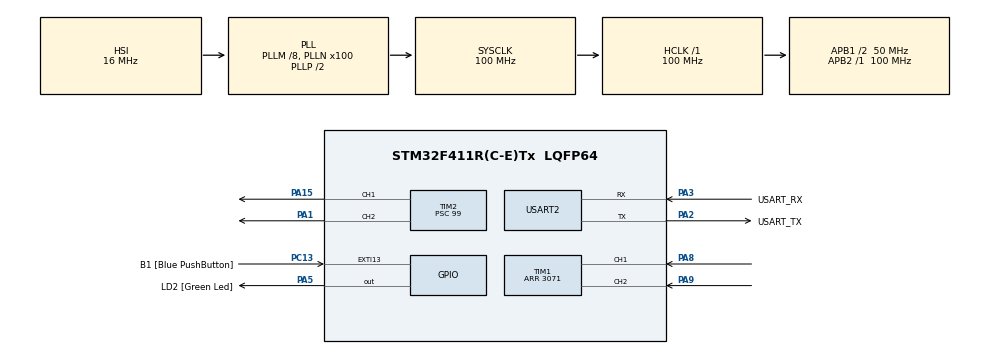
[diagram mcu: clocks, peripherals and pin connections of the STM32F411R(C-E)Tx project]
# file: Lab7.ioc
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Mcu.Family=STM32F4
Mcu.Name=STM32F411R(C-E)Tx
Mcu.Package=LQFP64
NVIC.PriorityGroup=NVIC_PRIORITYGROUP_0
NVIC.TIM2_IRQn=true\:0\:0\:false\:false\:true\:true\:true
NVIC.TIM5_IRQn=true\:0\:0\:false\:false\:true\:true\:true
PA1.Signal=S_TIM2_CH2
PA13.GPIO_Label=TMS
PA13.Mode=Serial_Wire
PA13.Signal=SYS_JTMS-SWDIO
PA14.GPIO_Label=TCK
PA14.Mode=Serial_Wire
PA14.Signal=SYS_JTCK-SWCLK
PA15.Signal=S_TIM2_CH1_ETR
PA2.GPIO_Label=USART_TX
PA2.Mode=Asynchronous
PA2.Signal=USART2_TX
PA3.GPIO_Label=USART_RX
PA3.Mode=Asynchronous
PA3.Signal=USART2_RX
PA5.GPIO_Label=LD2 [Green Led]
PA5.Signal=GPIO_Output
PA8.Signal=S_TIM1_CH1
PA9.Signal=S_TIM1_CH2
PB3.GPIO_Label=SWO
PB3.Signal=SYS_JTDO-SWO
PC13-ANTI_TAMP.GPIO_Label=B1 [Blue PushButton]
PC13-ANTI_TAMP.GPIO_ModeDefaultEXTI=GPIO_MODE_IT_FALLING
PC13-ANTI_TAMP.Signal=GPXTI13
PC14-OSC32_IN.Mode=LSE-External-Oscillator
PC14-OSC32_IN.Signal=RCC_OSC32_IN
PC15-OSC32_OUT.Mode=LSE-External-Oscillator
PC15-OSC32_OUT.Signal=RCC_OSC32_OUT
PH0\ -\ OSC_IN.Mode=HSE-External-Clock-Source
PH0\ -\ OSC_IN.Signal=RCC_OSC_IN
PH1\ -\ OSC_OUT.Mode=HSE-External-Clock-Source
PH1\ -\ OSC_OUT.Signal=RCC_OSC_OUT
ProjectManager.HeapSize=0x200
ProjectManager.StackSize=0x400
ProjectManager.TargetToolchain=STM32CubeIDE
RCC.48MHZClocksFreq_Value=50000000
RCC.AHBFreq_Value=100000000
RCC.APB1CLKDivider=RCC_HCLK_DIV2
RCC.APB1Freq_Value=50000000
RCC.APB1TimFreq_Value=100000000
RCC.APB2Freq_Value=100000000
RCC.APB2TimFreq_Value=100000000
RCC.CortexFreq_Value=100000000
RCC.FLatency-AdvancedSettings=FLASH_LATENCY_3
RCC.HCLKFreq_Value=100000000
RCC.HSE_VALUE=8000000
RCC.HSI_VALUE=16000000
RCC.PLLM=8
RCC.PLLN=100
RCC.SYSCLKFreq_VALUE=100000000
RCC.SYSCLKSource=RCC_SYSCLKSOURCE_PLLCLK
RCC.VCOOutputFreq_Value=200000000
SH.S_TIM1_CH1.0=TIM1_CH1,Encoder_Interface
SH.S_TIM1_CH2.0=TIM1_CH2,Encoder_Interface
SH.S_TIM2_CH1_ETR.0=TIM2_CH1,PWM Generation1 CH1
SH.S_TIM2_CH2.0=TIM2_CH2,PWM Generation2 CH2
TIM1.EncoderMode=TIM_ENCODERMODE_TI12
TIM1.Period=3071
TIM2.Channel-PWM\ Generation1\ CH1=TIM_CHANNEL_1
TIM2.Channel-PWM\ Generation2\ CH2=TIM_CHANNEL_2
TIM2.Period=10000
TIM2.Prescaler=99
TIM5.Prescaler=99
USART2.VirtualMode=VM_ASYNC
VP_TIM2_VS_ClockSourceINT.Mode=Internal
VP_TIM5_VS_ClockSourceINT.Mode=Internal
board=NUCLEO-F411RE

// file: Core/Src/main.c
/* USER CODE BEGIN Header */
/**
 ******************************************************************************
 * @file           : main.c
 * @brief          : Main program body
 ******************************************************************************
 * @attention
 *
 * <h2><center>&copy; Copyright (c) 2021 STMicroelectronics.
 * All rights reserved.</center></h2>
 *
 * This software component is licensed by ST under BSD 3-Clause license,
 * the "License"; You may not use this file except in compliance with the
 * License. You may obtain a copy of the License at:
 *                        opensource.org/licenses/BSD-3-Clause
 *
 ******************************************************************************
 */
/* USER CODE END Header */
#include "main.h"

TIM_HandleTypeDef htim1;
TIM_HandleTypeDef htim2;
TIM_HandleTypeDef htim5;

UART_HandleTypeDef huart2;

/* USER CODE BEGIN PV */
uint64_t _micros = 0;
float EncoderVel = 0;
uint64_t Timestamp_Encoder = 0;
float w = 0;
float RPM = 0 ;
float PWMO1 =0 ;
float PWMO2 = 0 ;
float e  = 0 ;
float constant = 0;
float Kp = 2.5;
float Ki = 0.000001;
float Kd = 0.55;
float PID = 0;
float e0 = 0;
float sum_e = 0;
float X = 0;

/* USER CODE END PV */

void SystemClock_Config(void);
static void MX_GPIO_Init(void);
static void MX_USART2_UART_Init(void);
static void MX_TIM1_Init(void);
static void MX_TIM2_Init(void);
static void MX_TIM5_Init(void);
/* USER CODE BEGIN PFP */
uint64_t micros();
float EncoderVelocity_Update();

/* USER CODE END PFP */

int main(void)
{

  /* MCU Configuration--------------------------------------------------------*/

  /* Reset of all peripherals, Initializes the Flash interface and the Systick. */
  HAL_Init();

  /* Configure the system clock */
  SystemClock_Config();

  /* Initialize all configured peripherals */
  MX_GPIO_Init();
  MX_USART2_UART_Init();
  MX_TIM1_Init();
  MX_TIM2_Init();
  MX_TIM5_Init();
  /* USER CODE BEGIN 2 */
	HAL_TIM_Base_Start_IT(&htim2);
	HAL_TIM_Encoder_Start(&htim1, TIM_CHANNEL_ALL);
	HAL_TIM_Base_Start_IT(&htim5);
	HAL_TIM_PWM_Start(&htim2, TIM_CHANNEL_1);
	HAL_TIM_PWM_Start(&htim2, TIM_CHANNEL_2);
  /* USER CODE END 2 */

  /* Infinite loop */
	while (1)
	{

    /* USER CODE BEGIN 3 */

		//RAW Read
//		if (micros() - Timestamp_Encoder >= 1000)
//		{
//			Timestamp_Encoder = micros();
//			EncoderVel = EncoderVelocity_Update();
//		}

		//Add LPF?
		if (micros() - Timestamp_Encoder >= 1000)
		{
			Timestamp_Encoder = micros();
			EncoderVel = (EncoderVel * 99 + EncoderVelocity_Update()) / 100.0   ;    //ไม่เสถียร
			w = EncoderVel / 3072; // �?ปลงให้เป็น 1 รอบ
			RPM = w * 60 ;
			e = constant - RPM;
			sum_e += e;
			PID = (Kp*e) + (Ki*sum_e*1000000/Timestamp_Encoder) + (Kd*(e - e0)/0.0001);
			e0 = e;
			X += PID;
			if(constant > 0)
			{
				PWMO1 = 0 ;
				PWMO2 = X ;
			}
			if(constant < 0)
			{
				PWMO1 = -X ;
				PWMO2 = 0 ;
			}
			if(constant == 0)
			{
				PWMO1 = 0 ;
				PWMO2 = 0 ;
			}
			__HAL_TIM_SET_COMPARE(&htim2, TIM_CHANNEL_1,PWMO1);
			__HAL_TIM_SET_COMPARE(&htim2, TIM_CHANNEL_2,PWMO2);
		}

	}
  /* USER CODE END 3 */
}

void SystemClock_Config(void)
{
  RCC_OscInitTypeDef RCC_OscInitStruct = {0};
  RCC_ClkInitTypeDef RCC_ClkInitStruct = {0};

  /** Configure the main internal regulator output voltage
  */
  __HAL_RCC_PWR_CLK_ENABLE();
  __HAL_PWR_VOLTAGESCALING_CONFIG(PWR_REGULATOR_VOLTAGE_SCALE1);
  /** Initializes the RCC Oscillators according to the specified parameters
  * in the RCC_OscInitTypeDef structure.
  */
  RCC_OscInitStruct.OscillatorType = RCC_OSCILLATORTYPE_HSI;
  RCC_OscInitStruct.HSIState = RCC_HSI_ON;
  RCC_OscInitStruct.HSICalibrationValue = RCC_HSICALIBRATION_DEFAULT;
  RCC_OscInitStruct.PLL.PLLState = RCC_PLL_ON;
  RCC_OscInitStruct.PLL.PLLSource = RCC_PLLSOURCE_HSI;
  RCC_OscInitStruct.PLL.PLLM = 8;
  RCC_OscInitStruct.PLL.PLLN = 100;
  RCC_OscInitStruct.PLL.PLLP = RCC_PLLP_DIV2;
  RCC_OscInitStruct.PLL.PLLQ = 4;
  if (HAL_RCC_OscConfig(&RCC_OscInitStruct) != HAL_OK)
  {
    Error_Handler();
  }
  /** Initializes the CPU, AHB and APB buses clocks
  */
  RCC_ClkInitStruct.ClockType = RCC_CLOCKTYPE_HCLK|RCC_CLOCKTYPE_SYSCLK
                              |RCC_CLOCKTYPE_PCLK1|RCC_CLOCKTYPE_PCLK2;
  RCC_ClkInitStruct.SYSCLKSource = RCC_SYSCLKSOURCE_PLLCLK;
  RCC_ClkInitStruct.AHBCLKDivider = RCC_SYSCLK_DIV1;
  RCC_ClkInitStruct.APB1CLKDivider = RCC_HCLK_DIV2;
  RCC_ClkInitStruct.APB2CLKDivider = RCC_HCLK_DIV1;

  if (HAL_RCC_ClockConfig(&RCC_ClkInitStruct, FLASH_LATENCY_3) != HAL_OK)
  {
    Error_Handler();
  }
}

static void MX_TIM1_Init(void)
{

  TIM_Encoder_InitTypeDef sConfig = {0};
  TIM_MasterConfigTypeDef sMasterConfig = {0};

  htim1.Instance = TIM1;
  htim1.Init.Prescaler = 0;
  htim1.Init.CounterMode = TIM_COUNTERMODE_UP;
  htim1.Init.Period = 3071;
  htim1.Init.ClockDivision = TIM_CLOCKDIVISION_DIV1;
  htim1.Init.RepetitionCounter = 0;
  htim1.Init.AutoReloadPreload = TIM_AUTORELOAD_PRELOAD_DISABLE;
  sConfig.EncoderMode = TIM_ENCODERMODE_TI12;
  sConfig.IC1Polarity = TIM_ICPOLARITY_RISING;
  sConfig.IC1Selection = TIM_ICSELECTION_DIRECTTI;
  sConfig.IC1Prescaler = TIM_ICPSC_DIV1;
  sConfig.IC1Filter = 0;
  sConfig.IC2Polarity = TIM_ICPOLARITY_RISING;
  sConfig.IC2Selection = TIM_ICSELECTION_DIRECTTI;
  sConfig.IC2Prescaler = TIM_ICPSC_DIV1;
  sConfig.IC2Filter = 0;
  if (HAL_TIM_Encoder_Init(&htim1, &sConfig) != HAL_OK)
  {
    Error_Handler();
  }
  sMasterConfig.MasterOutputTrigger = TIM_TRGO_RESET;
  sMasterConfig.MasterSlaveMode = TIM_MASTERSLAVEMODE_DISABLE;
  if (HAL_TIMEx_MasterConfigSynchronization(&htim1, &sMasterConfig) != HAL_OK)
  {
    Error_Handler();
  }

}

static void MX_TIM2_Init(void)
{

  TIM_ClockConfigTypeDef sClockSourceConfig = {0};
  TIM_MasterConfigTypeDef sMasterConfig = {0};
  TIM_OC_InitTypeDef sConfigOC = {0};

  htim2.Instance = TIM2;
  htim2.Init.Prescaler = 99;
  htim2.Init.CounterMode = TIM_COUNTERMODE_UP;
  htim2.Init.Period = 10000;
  htim2.Init.ClockDivision = TIM_CLOCKDIVISION_DIV1;
  htim2.Init.AutoReloadPreload = TIM_AUTORELOAD_PRELOAD_DISABLE;
  if (HAL_TIM_Base_Init(&htim2) != HAL_OK)
  {
    Error_Handler();
  }
  sClockSourceConfig.ClockSource = TIM_CLOCKSOURCE_INTERNAL;
  if (HAL_TIM_ConfigClockSource(&htim2, &sClockSourceConfig) != HAL_OK)
  {
    Error_Handler();
  }
  if (HAL_TIM_PWM_Init(&htim2) != HAL_OK)
  {
    Error_Handler();
  }
  sMasterConfig.MasterOutputTrigger = TIM_TRGO_RESET;
  sMasterConfig.MasterSlaveMode = TIM_MASTERSLAVEMODE_DISABLE;
  if (HAL_TIMEx_MasterConfigSynchronization(&htim2, &sMasterConfig) != HAL_OK)
  {
    Error_Handler();
  }
  sConfigOC.OCMode = TIM_OCMODE_PWM1;
  sConfigOC.Pulse = 0;
  sConfigOC.OCPolarity = TIM_OCPOLARITY_HIGH;
  sConfigOC.OCFastMode = TIM_OCFAST_DISABLE;
  if (HAL_TIM_PWM_ConfigChannel(&htim2, &sConfigOC, TIM_CHANNEL_1) != HAL_OK)
  {
    Error_Handler();
  }
  if (HAL_TIM_PWM_ConfigChannel(&htim2, &sConfigOC, TIM_CHANNEL_2) != HAL_OK)
  {
    Error_Handler();
  }
  HAL_TIM_MspPostInit(&htim2);

}

static void MX_TIM5_Init(void)
{

  TIM_ClockConfigTypeDef sClockSourceConfig = {0};
  TIM_MasterConfigTypeDef sMasterConfig = {0};

  htim5.Instance = TIM5;
  htim5.Init.Prescaler = 99;
  htim5.Init.CounterMode = TIM_COUNTERMODE_UP;
  htim5.Init.Period = 4294967295;
  htim5.Init.ClockDivision = TIM_CLOCKDIVISION_DIV1;
  htim5.Init.AutoReloadPreload = TIM_AUTORELOAD_PRELOAD_DISABLE;
  if (HAL_TIM_Base_Init(&htim5) != HAL_OK)
  {
    Error_Handler();
  }
  sClockSourceConfig.ClockSource = TIM_CLOCKSOURCE_INTERNAL;
  if (HAL_TIM_ConfigClockSource(&htim5, &sClockSourceConfig) != HAL_OK)
  {
    Error_Handler();
  }
  sMasterConfig.MasterOutputTrigger = TIM_TRGO_RESET;
  sMasterConfig.MasterSlaveMode = TIM_MASTERSLAVEMODE_DISABLE;
  if (HAL_TIMEx_MasterConfigSynchronization(&htim5, &sMasterConfig) != HAL_OK)
  {
    Error_Handler();
  }

}

static void MX_USART2_UART_Init(void)
{

  huart2.Instance = USART2;
  huart2.Init.BaudRate = 115200;
  huart2.Init.WordLength = UART_WORDLENGTH_8B;
  huart2.Init.StopBits = UART_STOPBITS_1;
  huart2.Init.Parity = UART_PARITY_NONE;
  huart2.Init.Mode = UART_MODE_TX_RX;
  huart2.Init.HwFlowCtl = UART_HWCONTROL_NONE;
  huart2.Init.OverSampling = UART_OVERSAMPLING_16;
  if (HAL_UART_Init(&huart2) != HAL_OK)
  {
    Error_Handler();
  }

}

static void MX_GPIO_Init(void)
{
  GPIO_InitTypeDef GPIO_InitStruct = {0};

  /* GPIO Ports Clock Enable */
  __HAL_RCC_GPIOC_CLK_ENABLE();
  __HAL_RCC_GPIOH_CLK_ENABLE();
  __HAL_RCC_GPIOA_CLK_ENABLE();
  __HAL_RCC_GPIOB_CLK_ENABLE();

  /*Configure GPIO pin Output Level */
  HAL_GPIO_WritePin(LD2_GPIO_Port, LD2_Pin, GPIO_PIN_RESET);

  /*Configure GPIO pin : B1_Pin */
  GPIO_InitStruct.Pin = B1_Pin;
  GPIO_InitStruct.Mode = GPIO_MODE_IT_FALLING;
  GPIO_InitStruct.Pull = GPIO_NOPULL;
  HAL_GPIO_Init(B1_GPIO_Port, &GPIO_InitStruct);

  /*Configure GPIO pin : LD2_Pin */
  GPIO_InitStruct.Pin = LD2_Pin;
  GPIO_InitStruct.Mode = GPIO_MODE_OUTPUT_PP;
  GPIO_InitStruct.Pull = GPIO_NOPULL;
  GPIO_InitStruct.Speed = GPIO_SPEED_FREQ_LOW;
  HAL_GPIO_Init(LD2_GPIO_Port, &GPIO_InitStruct);

}

/* USER CODE BEGIN 4 */
#define  HTIM_ENCODER htim1
#define  MAX_SUBPOSITION_OVERFLOW 1536
#define  MAX_ENCODER_PERIOD 3072

float EncoderVelocity_Update()
{
	//Save Last state
	static uint32_t EncoderLastPosition = 0;
	static uint64_t EncoderLastTimestamp = 0;

	//read data
	uint32_t EncoderNowPosition = HTIM_ENCODER.Instance->CNT;
	uint64_t EncoderNowTimestamp = micros();

	int32_t EncoderPositionDiff;
	uint64_t EncoderTimeDiff;

	EncoderTimeDiff = EncoderNowTimestamp - EncoderLastTimestamp;
	EncoderPositionDiff = EncoderNowPosition - EncoderLastPosition;

	//compensate overflow and underflow
	if (EncoderPositionDiff >= MAX_SUBPOSITION_OVERFLOW)
	{
		EncoderPositionDiff -= MAX_ENCODER_PERIOD;
	}
	else if (-EncoderPositionDiff >= MAX_SUBPOSITION_OVERFLOW)
	{
		EncoderPositionDiff += MAX_ENCODER_PERIOD;
	}

	//Update Position and time
	EncoderLastPosition = EncoderNowPosition;
	EncoderLastTimestamp = EncoderNowTimestamp;

	//Calculate velocity
	//EncoderTimeDiff is in uS
	return (EncoderPositionDiff * 1000000) / (float) EncoderTimeDiff;

}

void HAL_TIM_PeriodElapsedCallback(TIM_HandleTypeDef *htim)
{
	if (htim == &htim2)
	{
		_micros += 4294967295;
	}
}
uint64_t micros()
{
	return _micros + htim2.Instance->CNT;
}
/* USER CODE END 4 */

void Error_Handler(void)
{
	__disable_irq();
	while (1)
	{
	}
}

/************************ (C) COPYRIGHT STMicroelectronics *****END OF FILE****/
